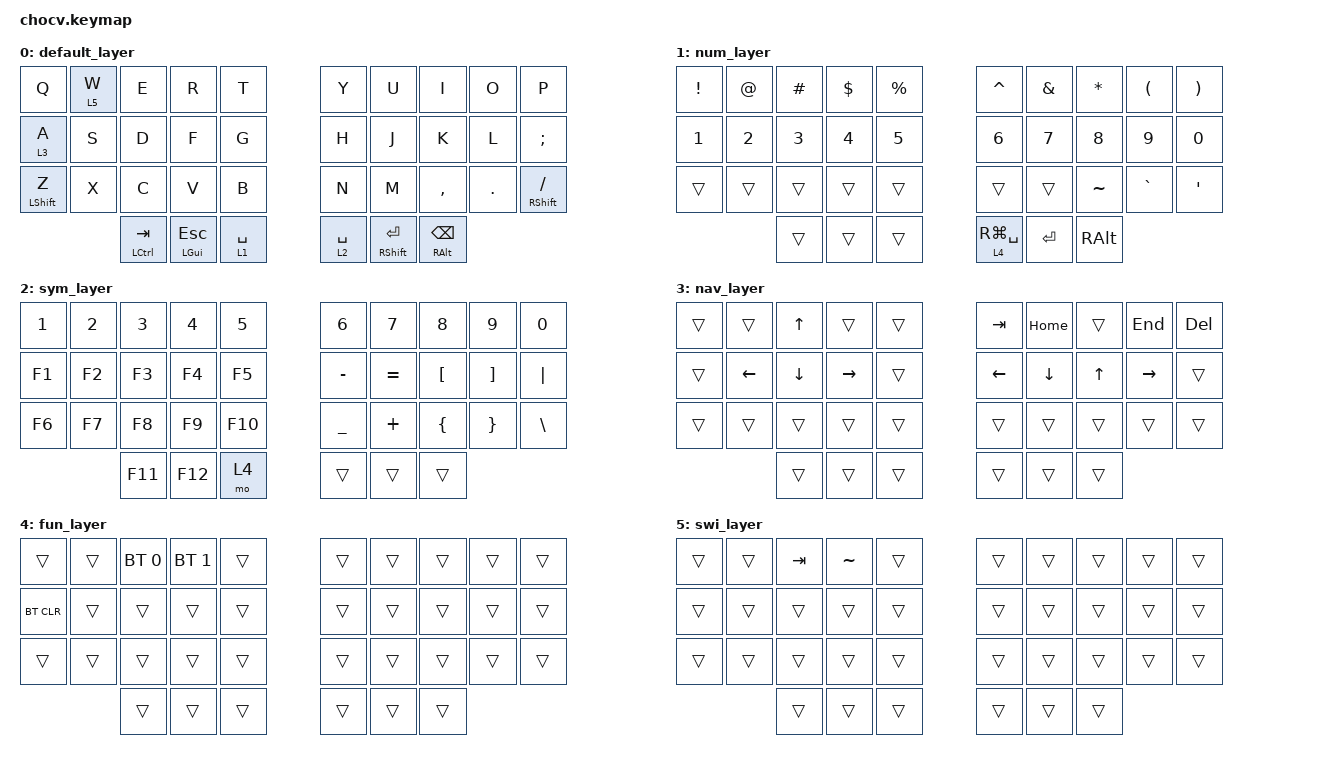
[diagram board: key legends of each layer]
/*
 * Copyright (c) 2020 The ZMK Contributors
 *
 * SPDX-License-Identifier: MIT
 */

#include <behaviors.dtsi>
#include <dt-bindings/zmk/keys.h>
#include <dt-bindings/zmk/bt.h> 



  / {

    combos {
        compatible = "zmk,combos"; 
        combo_tab {
            timeout-ms = <50>;
            key-positions = <1 2>;
            bindings = <&kp TAB>;
         };

          combo_del {
            timeout-ms = <25>;
            key-positions = <3 4>;
            bindings = <&kp DEL>;
         };

          combo_esc {
            timeout-ms = <25>;
            key-positions = <11 12>;
            bindings = <&kp ESC>;
         };
      
         //gui+tab to switch applications on mac
        combo_cmdtab {          
            timeout-ms = <50>;
            key-positions = <0 1>;
            bindings = <&kp LG(TAB)>; 
         };

         //cmd+tab to switch to previous application window
          combo_tilde {         
            timeout-ms = <25>;
            key-positions = <1 3>;
            bindings = <&kp LC(TAB)>;
         };

        combo_ent {
            timeout-ms = <25>;
            key-positions = <17 18>;
            bindings = <&kp RET>;
         };

        combo_L_ent {
            timeout-ms = <25>;
            key-positions = <13 14>;
            bindings = <&kp RET>;
         };

        combo_bspc {
            timeout-ms = <50>;
            key-positions = <7 8>;
            bindings = <&kp BSPC>;
        };

        combo_bspc2 {
            timeout-ms = <50>;
            key-positions = <8 9>;
            bindings = <&kp BSPC>;
        };
        
        combo_alt_del {
            timeout-ms = <50>;
            key-positions = <6 7>;
            bindings = <&kp LA(BSPC)>;
        };

                combo_line_del {
            timeout-ms = <50>;
            key-positions = <5 6>;
            bindings = <&kp LG(BSPC)>;
        };

        combo_quote {
            timeout-ms = <50>;
            key-positions = <26 27>;
            bindings = <&kp SQT>;
        };

        combo_rshift {
            timeout-ms = <50>;
            key-positions = <27 28>;
            bindings = <&sk RSHIFT>;
        };
        

        left_option {
            timeout-ms = <50>;
            key-positions = <22 23>;
            bindings = <&kp RALT>;
        };
    };

        /*           36 Keys
        ╭──────────────╮ ╭──────────────╮
        │ 0  1  2  3  4│ │ 5  6  7  8  9│
        │10 11 12 13 14│ │15 16 17 18 19│
        │20 21 22 23 24│ │25 26 27 28 29│
        ╰─────╮30 31 32│ │33 34 35╭─────╯
              ╰────────╯ ╰────────╯         */

        //sticky keys for mods example from duckyb https://github.com/duckyb/zmk-sweep/blob/main/config/cradio.keymap
        //&sk LALT &sk LGUI &sk LSHIFT &sk LCTRL &kp RALT


    behaviors {
        lsz: lshift_z {
            compatible = "zmk,behavior-hold-tap";
            #binding-cells = <2>;
            flavor = "hold-preferred";
            tapping-term-ms = <280>;
            quick-tap-ms = <175>;
            bindings = <&kp>, <&kp>;
        };
    };

        //
keymap {
                compatible = "zmk,keymap";

                default_layer {
                // -----------------------------------------------------------------------------------------
                // |  Q  |  W  |  E  |  R  |  T   |   |  Y  |  U   |  I  |  O  |  P  |
                // |  A  |  S  |  D  |  F  |  G   |   |  H  |  J   |  K  |  L  |  ;  |
                // |  Z  |  X  |  C  |  V  |  B   |   |  N  |  M   |  ,  |  .  |  /  |
                //             | GUI | NAV | SHFT |   | SPC | SYM  | ALT |
                        bindings = <
        &kp Q        &lt 5 W   &kp E   &kp R   &kp T            &kp Y  &kp U   &kp I           &kp O           &kp P
        &lt 3 A      &kp S     &kp D   &kp F   &kp G            &kp H  &kp J   &kp K           &kp L           &kp SEMI
        &lsz LSHIFT Z &kp X     &kp C   &kp V   &kp B            &kp N  &kp M   &kp COMMA       &kp DOT         &mt RSHIFT FSLH
        &mt LCTRL TAB &mt LGUI ESC   &lt 1 SPACE    &lt 2 SPACE   &mt RSHIFT RET   &mt RALT BSPC
                                >; 
                        };

                num_layer {
                // -----------------------------------------------------------------------------------------
                // |BTCLR|     | ESC |  ~   |     |   | TAB | HOME |  UP  | END | DEL  |
                // | BT1 | GUI | ALT | CTRL | NUM |   |  /  | LEFT | DOWN | RGT | BKSP |
                // | BT2 |     |     |      |     |   |  \  | ENT  |      |     |      |
                //             |     |      |     |   |     |      |      |
                        bindings = <
        &kp EXCL        &kp AT  &kp HASH        &kp DLLR       &kp PRCNT   &kp CARET   &kp AMPS        &kp ASTRK        &kp LPAR        &kp RPAR
        &kp N1          &kp N2  &kp N3          &kp N4         &kp N5      &kp N6      &kp N7          &kp N8           &kp N9          &kp N0
        &trans          &trans  &trans          &trans         &trans      &trans   &trans              &kp TILDE         &kp GRAVE        &kp SQT
                        &trans          &trans           &trans      &lt 4 RG(SPACE)     &kp RET         &kp RALT
                        >;
                };

                sym_layer {
                // -----------------------------------------------------------------------------------------
                // |  !  |  @  |  #  |  $  |  %  |   |  ^  |  &  |  *  |  (  |  )  |
                // |     |     |     |     |     |   |  -  |  =  |  {  |  }  | "|" |
                // |     |     |     |     |     |   |  _  |  +  |  [  |  ]  |  \  |
                //             | GUI |     | SPC |   | ENT |     | ALT |
                        bindings = <
        &kp N1  &kp N2  &kp N3    &kp N4   &kp N5      &kp N6      &kp N7    &kp N8      &kp N9     &kp N0
        &kp F1  &kp F2  &kp F3    &kp F4   &kp F5      &kp MINUS   &kp EQUAL &kp LBKT    &kp RBKT   &kp PIPE
        &kp F6  &kp F7  &kp F8    &kp F9   &kp F10     &kp UNDER   &kp PLUS  &kp LBRC    &kp RBRC   &kp BSLH
                        &kp F11   &kp F12        &mo 4  &trans     &trans    &trans  
                        >;
                };

                // This layer is unreachable until "tri layer state" is sorted out.
                // Leaving it here for completeness.
                nav_layer {
                // -----------------------------------------------------------------------------------------
                // |     |     |     |     |     |   |  A  |  7  |  8  |  9  |  D  |
                // |     |     |     |     |     |   |  B  |  4  |  5  |  6  |  E  |
                // |     |     |     |     |     |   |  C  |  1  |  2  |  3  |  F  |
                //             |     |     |     |   |  0  |  .  |     |
                        bindings = <
   &trans &trans        &kp UP          &trans          &trans     &kp TAB      &kp HOME    &trans  &kp END         &kp DEL
   &trans &kp LEFT      &kp DOWN        &kp RIGHT       &trans     &kp LEFT     &kp DOWN    &kp UP  &kp RIGHT       &trans
   &trans &trans        &trans          &trans          &trans     &trans       &trans      &trans  &trans          &trans
                        &trans          &trans          &trans     &trans       &trans      &trans
                        >;
                };

                fun_layer {
        // -----------------------------------------------------------------------------------------
        // |     |     |     |     |     |   |  A  |  7  |  8  |  9  |  D  |
        // |     |     |     |     |     |   |  B  |  4  |  5  |  6  |  E  |
        // |     |     |     |     |     |   |  C  |  1  |  2  |  3  |  F  |
        //             |     |     |     |   |  0  |  .  |     |
                        bindings = <
   &trans       &trans      &bt BT_SEL 0  &bt BT_SEL 1  &trans    &trans &trans &trans &trans &trans
   &bt BT_CLR   &trans      &trans        &trans        &trans    &trans &trans &trans &trans &trans
   &trans       &trans      &trans        &trans        &trans    &trans &trans &trans &trans &trans
                &trans      &trans        &trans        &trans    &trans &trans
                        >;
                };

            swi_layer {
        // -----------------------------------------------------------------------------------------
        // |     |     |     |     |     |   |  A  |  7  |  8  |  9  |  D  |
        // |     |     |     |     |     |   |  B  |  4  |  5  |  6  |  E  |
        // |     |     |     |     |     |   |  C  |  1  |  2  |  3  |  F  |
        //             |     |     |     |   |  0  |  .  |     |
                        bindings = <
   &trans       &trans         &kp TAB   &kp TILDE        &trans    &trans &trans &trans &trans &trans
   &trans       &trans           &trans        &trans        &trans    &trans &trans &trans &trans &trans
   &trans       &trans          &trans        &trans        &trans    &trans &trans &trans &trans &trans
                &trans          &trans        &trans        &trans    &trans &trans
                        >;
                };

        };
};
